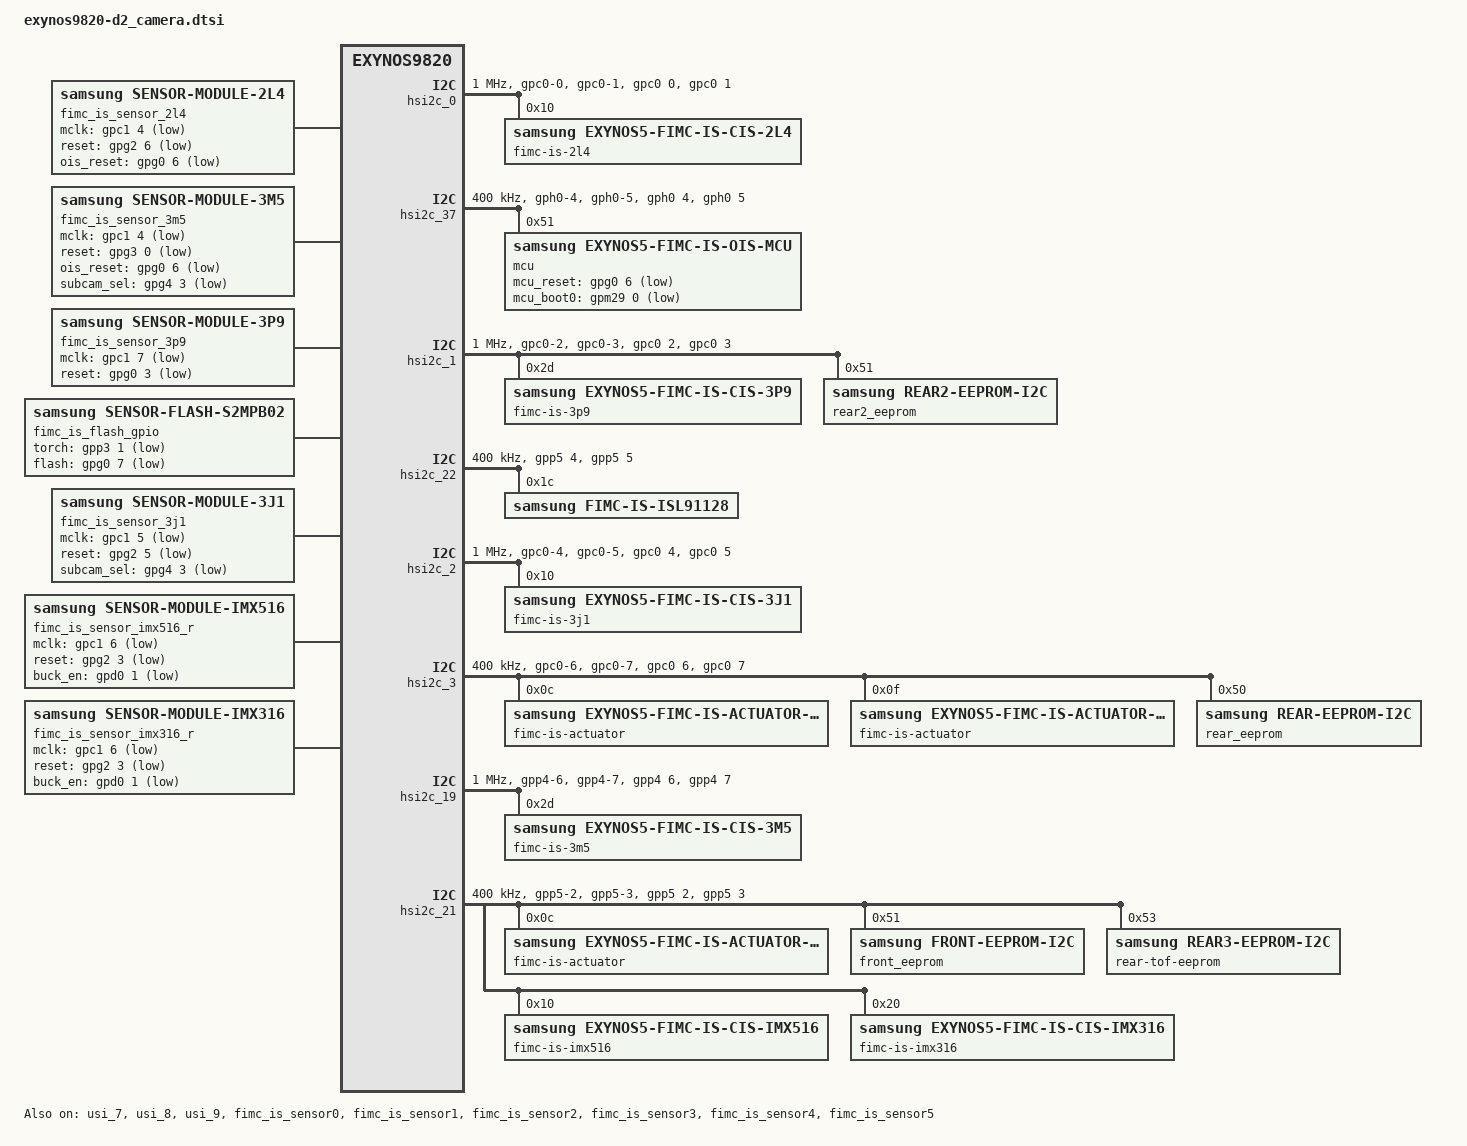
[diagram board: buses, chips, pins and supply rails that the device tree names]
/*
 * SAMSUNG EXYNOS9820 board camera device tree source
 *
 * Copyright (c) 2018 Samsung Electronics Co., Ltd.
 *		http://www.samsung.com
 *
 * This program is free software; you can redistribute it and/or modify
 * it under the terms of the GNU General Public License version 2 as
 * published by the Free Software Foundation.
*/

#include <dt-bindings/camera/fimc_is.h>

/ {
	fragment@camera {
		target-path = "/";
		__overlay__ {
			/* REAR CAMERA */
			fimc_is_sensor_2l4: fimc-is_sensor_2l4@20 {
				compatible = "samsung,sensor-module-2l4";

				pinctrl-names = "pin0", "pin1", "pin2", "release";
				pinctrl-0 = <>;
				pinctrl-1 = <&sensor_mclk0_out>;
				pinctrl-2 = <&sensor_mclk0_fn>;
				pinctrl-3 = <>;

				position = <0>;	/* Rear:0. Front:1. Rear_sub:2. Secure:3. */
				id = <0>; /* fimc_is_sensor id */
				mclk_ch = <0>;
				use_mclk_share;
				sensor_i2c_ch = <0>; /* SENSOR_CONTROL_I2C0 */

				rom_type = <2>; /* ROM_TYPE_EEPROM */
				rom_id = <0>;
				rom_cal_index = <0>;

				gpio_mclk = <&gpc1 4 0x1>;
				gpio_reset = <&gpg2 6 0x1>; /* sensor reset */
				gpio_ois_reset = <&gpg0 6 0x1>; /* ois reset */

				status = "okay";

				af {
					product_name = <18>; /* ACTUATOR_NAME_AK737X : ak7371 or ak7374 */
					i2c_ch = <1>; /* SENSOR_CONTROL_I2C1 */
				};

				flash {
					product_name = <11>; /* FLASH_GPIO */
				};

				ois {
					product_name = <100>; /* NOTHING */
				};

				mcu {
					product_name = <1>; /* STM32 */
					i2c_addr = <0x51>;
					i2c_ch = <1>; /* SENSOR_CONTROL_I2C1 */
				};

				aperture {
					product_name = <100>; /* NOTHING */
				};
			};

			/* REAR2 CAMERA */
			fimc_is_sensor_3m5: fimc-is_sensor_3m5@5A {
				compatible = "samsung,sensor-module-3m5";

				pinctrl-names = "pin0", "pin1", "pin2", "release";
				pinctrl-0 = <>;
				pinctrl-1 = <&sensor_mclk0_out>;
				pinctrl-2 = <&sensor_mclk0_fn>;
				pinctrl-3 = <>;

				position = <2>; /* Rear:0. Front:1, Tele:2 */
				id = <2>; /* fimc_is_sensor id */
				mclk_ch = <0>;
				use_mclk_share;
				sensor_i2c_ch = <2>; /* SENSOR_CONTROL_I2C2 */

				rom_type = <2>; /* ROM_TYPE_EEPROM */
				rom_id = <0>;
				rom_cal_index = <1>;
				rom_dualcal_id = <0>;
				rom_dualcal_index = <1>;

				gpio_mclk = <&gpc1 4 0x1>; /* mclk shared with wide-cam */
				gpio_reset = <&gpg3 0 0x1>; /* sensor reset */
				gpio_ois_reset = <&gpg0 6 0x1>; /* ois reset */
				gpio_subcam_sel = <&gpg4 3 0x1>; /* sub cam sel */

				status = "okay";

				af {
					product_name = <18>; /* ACTUATOR_NAME_AK737X : ak7371 or ak7374 */
					i2c_ch = <3>; /* SENSOR_CONTROL_I2C3 */
				};

				flash {
					product_name = <11>; /* FLASH_GPIO */
				};

				preprocessor {
					product_name = <100>; /* NOTHING */
				};

				ois {
					product_name = <100>; /* NOTHING */
				};

				mcu {
					product_name = <1>; /* STM32 */
					i2c_addr = <0x51>;
					i2c_ch = <3>; /* SENSOR_CONTROL_I2C3 */
				};
			};

			/* Ultra Wide CAMERA */
			fimc_is_sensor_3p9: fimc-is_sensor_3p9@2D {
				compatible = "samsung,sensor-module-3p9";

				pinctrl-names = "pin0", "pin1", "pin2", "release";
				pinctrl-0 = <>;
				pinctrl-1 = <&sensor_mclk3_out>;
				pinctrl-2 = <&sensor_mclk3_fn>;
				pinctrl-3 = <>;

				position = <4>; /* Rear:0. Front:1, Tele:2 */
				id = <4>; /* fimc_is_sensor id */
				mclk_ch = <3>;
				sensor_i2c_ch = <4>; /* SENSOR_CONTROL_I2C4 */

				rom_type = <2>; /* ROM_TYPE_EEPROM */
				rom_id = <2>;
				rom_cal_index = <0>;
				rom_dualcal_id = <0>;
				rom_dualcal_index = <0>;

				gpio_mclk = <&gpc1 7 0x1>; /* mclk3 */
				gpio_reset = <&gpg0 3 0x1>; /* sensor reset */
				status = "okay";

				af {
					product_name = <100>; /* NOTHING */
				};

				flash {
					product_name = <11>; /* FLASH_GPIO */
				};

				preprocessor {
					product_name = <100>; /* NOTHING */
				};

				ois {
					product_name = <100>; /* NOTHING */
				};
			};

			fimc_is_flash_gpio: fimc-is-flash-gpio@0 {
				compatible = "samsung,sensor-flash-s2mpb02";
				id = <0 2 4>;
				status = "okay";

				torch-gpio = <&gpp3 1 0x1>;
				flash-gpio = <&gpg0 7 0x1>;
			};

			/* FRONT CAMERA */
			fimc_is_sensor_3j1: fimc-is_sensor_3j1@10 {
				compatible = "samsung,sensor-module-3j1";

				pinctrl-names = "pin0", "pin1", "pin2", "release";
				pinctrl-0 = <>;
				pinctrl-1 = <&sensor_mclk1_out>;
				pinctrl-2 = <&sensor_mclk1_fn>;
				pinctrl-3 = <>;

				position = <1>;	/* Rear:0. Front:1. Rear_sub:2. Secure:3. */
				id = <1>; /* fimc_is_sensor id */
				mclk_ch = <1>;
				sensor_i2c_ch = <4>; /* SENSOR_CONTROL_I2C4 */

				rom_type = <2>; /* ROM_TYPE_EEPROM */
				rom_id = <1>;
				rom_cal_index = <0>;

				gpio_mclk = <&gpc1 5 0x1>;
				gpio_reset = <&gpg2 5 0x1>; /* sensor reset */
				gpio_subcam_sel = <&gpg4 3 0x1>; /* sub cam sel */
				power_seq_id = <1>;
				status = "okay";

				af {
					product_name = <18>; /* ACTUATOR_NAME_AK737X */
					i2c_ch = <5>; /* SENSOR_CONTROL_I2C5 */
				};

				flash {
					product_name = <100>; /* NOTHING */
				};

				ois {
					product_name = <100>; /* NOTHING */
				};
			};

			/* Rear TOF */
			fimc_is_sensor_imx516_r: fimc-is_sensor_imx516_r@20 {
				compatible = "samsung,sensor-module-imx516";

				pinctrl-names = "pin0", "pin1", "pin2", "release";
				pinctrl-0 = <>;
				pinctrl-1 = <&sensor_mclk2_out>;
				pinctrl-2 = <&sensor_mclk2_fn>;
				pinctrl-3 = <>;

				position = <8>; /* Rear:0. Front:1, Tele:2 Front_sub:3 super Wide:4 rear TOF:8 front TOF:9*/
				id = <3>; /* fimc_is_sensor id */
				mclk_ch = <2>;
				sensor_i2c_ch = <6>; /* SENSOR_CONTROL_I2C6 */

				rom_type = <2>; /* ROM_TYPE_EEPROM */
				rom_id = <4>;
				rom_cal_index = <0>;
				rom_dualcal_id = <0>;
				rom_dualcal_index = <2>;

				gpio_mclk = <&gpc1 6 0x1>; /* mclk2 */
				gpio_reset = <&gpg2 3 0x1>; /* sensor reset */
				gpio_buck_en = <&gpd0 1 0x1>; /* isl91128 enable */
				status = "okay";

				af {
					product_name = <100>;  /* NOTHING */
				};

				flash {
					product_name = <100>;  /* NOTHING */
				};

				preprocessor {
					product_name = <100>; /* NOTHING */
				};

				ois {
					product_name = <100>; /* NOTHING */
				};
			};

			/* Rear TOF */
			fimc_is_sensor_imx316_r: fimc-is_sensor_imx316_r@20 {
				compatible = "samsung,sensor-module-imx316";

				pinctrl-names = "pin0", "pin1", "pin2", "release";
				pinctrl-0 = <>;
				pinctrl-1 = <&sensor_mclk2_out>;
				pinctrl-2 = <&sensor_mclk2_fn>;
				pinctrl-3 = <>;

				position = <8>; /* Rear:0. Front:1, Tele:2 Front_sub:3 super Wide:4 rear TOF:8 front TOF:9*/
				id = <3>; /* fimc_is_sensor id */
				mclk_ch = <2>;
				sensor_i2c_ch = <6>; /* SENSOR_CONTROL_I2C6 */

				rom_type = <2>; /* ROM_TYPE_EEPROM */
				rom_id = <4>;
				rom_cal_index = <0>;
				rom_dualcal_id = <0>;
				rom_dualcal_index = <2>;

				gpio_mclk = <&gpc1 6 0x1>; /* mclk2 */
				gpio_reset = <&gpg2 3 0x1>; /* sensor reset */
				gpio_buck_en = <&gpd0 1 0x1>; /* isl91128 enable */
				status = "okay";

				af {
					product_name = <100>;  /* NOTHING */
				};

				flash {
					product_name = <100>;  /* NOTHING */
				};

				preprocessor {
					product_name = <100>; /* NOTHING */
				};

				ois {
					product_name = <100>; /* NOTHING */
				};
			};
		}; /* end of __overlay__ */
	}; /* end of fragment */
}; /* end of root */

/***** reference symbol node *****/

&fimc_is {
	secure_mem_info = <0x96000000 0x2200000>;
	non_secure_mem_info = <0x98200000 0xE00000>;
	vender {
		rear_sensor_id = <37>; /* 2L4 */
		front_sensor_id = <38>; /* 3J1 */
		rear2_sensor_id = <50>; /* 3M5 */
		rear3_sensor_id = <40>; /* 3P9 */
		rear_tof_sensor_id = <119>; /* IMX516 */
		use_module_check;
		use_ois;
		check_sensor_vendor;
		ois_sensor_index = <0>;
		aperture_sensor_index = <0>;
		mcu_sensor_index = <0>;

		max_supported_camera = <8>;
		supported_cameraId = <0 1 20 21 23 50 52 80>;
		/*
		 * REAR(0)
		 * FRONT(1)
		 * DUAL_REAR_ZOOM(20)
		 * TELE(21)
		 * WIDE(23)
		 * REAR_2ND(50)
		 * REAR_3RD(52)
		 * REAR_TOF(80)
		 */

		/* sysfs camera id */
		max_camera_num = <9>;
		camera_info0 {			// 0 : sysfs rear
			internal_id = <0>;	// 0 : wide
			isp = <0>;			/* 0 : INT , 1 : EXT , 2 : SOC */
			cal_memory = <2>;	/* 0 : N , 1 : FROM , 2 : EEPROM , 3 : OTP  */
			read_version = <0>;	/* 0 : SYSFS , 1 : CAMON */
			core_voltage = <0>;	/* 0 : N , 1 : Y  */
			upgrade = <0>;		/* 0 : N , 1 : SYSFS , 2 : CAMON */
			fw_write = <0>;		/* 0 : N,  1 : OS, 2 : SD, 3 : ALL */
			fw_dump = <0>;		/* 0 : N , 1 : Y  */
			companion = <0>;	/* 0 : N , 1 : Y  */
			ois = <1>;			/* 0 : N , 1 : Y  */
			valid = <1>;		/* 0 : INVALID , 1 : VALID   */
		};
		camera_info1 {			// 1 : sysfs front
			internal_id = <1>;	// 1 : front master
			isp = <0>;			/* 0 : INT , 1 : EXT , 2 : SOC */
			cal_memory = <2>;	/* 0 : N , 1 : FROM , 2 : EEPROM , 3 : OTP  */
			read_version = <0>;	/* 0 : SYSFS , 1 : CAMON */
			core_voltage = <0>;	/* 0 : N , 1 : Y  */
			upgrade = <0>;		/* 0 : N , 1 : SYSFS , 2 : CAMON */
			fw_write = <0>;		/* 0 : N,  1 : OS, 2 : SD, 3 : ALL */
			fw_dump = <0>;		/* 0 : N , 1 : Y  */
			companion = <0>;	/* 0 : N , 1 : Y  */
			ois = <0>;			/* 0 : N , 1 : Y  */
			valid = <1>;		/* 0 : INVALID , 1 : VALID   */
		};
		camera_info2 {			// 2 : sysfs rear2
			internal_id = <4>;	// 4 : ultra wide
			isp = <0>;			/* 0 : INT , 1 : EXT , 2 : SOC */
			cal_memory = <2>;	/* 0 : N , 1 : FROM , 2 : EEPROM , 3 : OTP  */
			read_version = <0>;	/* 0 : SYSFS , 1 : CAMON */
			core_voltage = <0>;	/* 0 : N , 1 : Y  */
			upgrade = <0>;		/* 0 : N , 1 : SYSFS , 2 : CAMON */
			fw_write = <0>;		/* 0 : N,  1 : OS, 2 : SD, 3 : ALL */
			fw_dump = <0>;		/* 0 : N , 1 : Y  */
			companion = <0>;	/* 0 : N , 1 : Y  */
			ois = <0>;			/* 0 : N , 1 : Y  */
			valid = <1>;		/* 0 : INVALID , 1 : VALID   */
		};
		camera_info3 {			// 3 : sysfs front2
			valid = <0>;		/* 0 : INVALID , 1 : VALID   */
		};
		camera_info4 {			// 4 : sysfs rear3
			internal_id = <2>;	// 4 : tele
			isp = <0>;			/* 0 : INT , 1 : EXT , 2 : SOC */
			cal_memory = <2>;	/* 0 : N , 1 : FROM , 2 : EEPROM , 3 : OTP  */
			read_version = <0>;	/* 0 : SYSFS , 1 : CAMON */
			core_voltage = <0>;	/* 0 : N , 1 : Y  */
			upgrade = <0>;		/* 0 : N , 1 : SYSFS , 2 : CAMON */
			fw_write = <0>;		/* 0 : N,  1 : OS, 2 : SD, 3 : ALL */
			fw_dump = <0>;		/* 0 : N , 1 : Y  */
			companion = <0>;	/* 0 : N , 1 : Y  */
			ois = <1>;			/* 0 : N , 1 : Y  */
			valid = <1>;		/* 0 : INVALID , 1 : VALID   */
		};
		camera_info5 {			// 5 : sysfs front3
			valid = <0>;		/* 0 : INVALID , 1 : VALID   */
		};
		camera_info6 {			// 6 : sysfs rear4
			valid = <0>;		/* 0 : INVALID , 1 : VALID   */
		};
		camera_info7 {			// 7 : sysfs front4
			valid = <0>;		/* 0 : INVALID , 1 : VALID   */
		};
		camera_info8 {			// 8 : sysfs rear tof
			internal_id = <8>;	// 3 : rear tof
			isp = <0>;			/* 0 : INT , 1 : EXT , 2 : SOC */
			cal_memory = <2>;	/* 0 : N , 1 : FROM , 2 : EEPROM , 3 : OTP  */
			read_version = <0>;	/* 0 : SYSFS , 1 : CAMON */
			core_voltage = <0>;	/* 0 : N , 1 : Y  */
			upgrade = <0>;		/* 0 : N , 1 : SYSFS , 2 : CAMON */
			fw_write = <0>;		/* 0 : N,  1 : OS, 2 : SD, 3 : ALL */
			fw_dump = <0>;		/* 0 : N , 1 : Y  */
			companion = <0>;	/* 0 : N , 1 : Y  */
			ois = <0>;			/* 0 : N , 1 : Y  */
			valid = <1>;		/* 0 : INVALID , 1 : VALID   */
		};
	};

	fimc_is_dvfs {
		#define DVFS_INT_CAM_L0 690000
		#define DVFS_INT_CAM_L1 680000
		#define DVFS_INT_CAM_L2 670000
		#define DVFS_INT_CAM_L3 660000
		#define DVFS_INT_CAM_L4 650000
		#define DVFS_INT_CAM_L5 640000
		#define DVFS_INT_CAM_L6 630000

		#define DVFS_INT_L0 534000
		#define DVFS_INT_L1 400000
		#define DVFS_INT_L2 267000
		#define DVFS_INT_L3 200000
		#define DVFS_INT_L4 100000

		#define DVFS_CAM_L0 690000
		#define DVFS_CAM_L1 680000
		#define DVFS_CAM_L2 670000
		#define DVFS_CAM_L3 660000
		#define DVFS_CAM_L4 650000

		#define DVFS_MIF_L0 2094000 /* Currently be disabled */
		#define DVFS_MIF_L1 2093000
		#define DVFS_MIF_L2 1794000
		#define DVFS_MIF_L3 1539000
		#define DVFS_MIF_L4 1352000
		#define DVFS_MIF_L5 1014000
		#define DVFS_MIF_L6 845000
		#define DVFS_MIF_L7 676000
		#define DVFS_MIF_L8 546000
		#define DVFS_MIF_L9 421000

		table0 {
			desc = "dvfs table v0.3 for 12M/10M";

			default_int_cam = <DVFS_INT_CAM_L0>;
			default_cam = <DVFS_CAM_L0>;
			default_mif = <DVFS_MIF_L1>;
			default_int = <DVFS_INT_L4>;
			default_hpg = <1>;

			front2_preview_int_cam = <DVFS_INT_CAM_L5>;
			front2_preview_cam = <DVFS_CAM_L1>;
			front2_preview_mif = <DVFS_MIF_L4>;
			front2_preview_int = <DVFS_INT_L4>;
			front2_preview_hpg = <1>;

			front2_capture_int_cam = <DVFS_INT_CAM_L5>;
			front2_capture_cam = <DVFS_CAM_L1>;
			front2_capture_mif = <DVFS_MIF_L4>;
			front2_capture_int = <DVFS_INT_L4>;
			front2_capture_hpg = <1>;

			front2_video_int_cam = <DVFS_INT_CAM_L5>;
			front2_video_cam = <DVFS_CAM_L1>;
			front2_video_mif = <DVFS_MIF_L4>;
			front2_video_int = <DVFS_INT_L4>;
			front2_video_hpg = <1>;

			front2_video_capture_int_cam = <DVFS_INT_CAM_L5>;
			front2_video_capture_cam = <DVFS_CAM_L1>;
			front2_video_capture_mif = <DVFS_MIF_L4>;
			front2_video_capture_int = <DVFS_INT_L4>;
			front2_video_capture_hpg = <1>;

			front_preview_int_cam = <DVFS_INT_CAM_L5>;
			front_preview_cam = <DVFS_CAM_L1>;
			front_preview_mif = <DVFS_MIF_L4>;
			front_preview_int = <DVFS_INT_L4>;
			front_preview_hpg = <1>;

			front_preview_full_int_cam = <DVFS_INT_CAM_L5>;
			front_preview_full_cam = <DVFS_CAM_L1>;
			front_preview_full_mif = <DVFS_MIF_L4>;
			front_preview_full_int = <DVFS_INT_L4>;
			front_preview_full_hpg = <1>;

			front_capture_int_cam = <DVFS_INT_CAM_L5>;
			front_capture_cam = <DVFS_CAM_L1>;
			front_capture_mif = <DVFS_MIF_L4>;
			front_capture_int = <DVFS_INT_L4>;
			front_capture_hpg = <1>;

			front_video_int_cam = <DVFS_INT_CAM_L5>;
			front_video_cam = <DVFS_CAM_L1>;
			front_video_mif = <DVFS_MIF_L4>;
			front_video_int = <DVFS_INT_L4>;
			front_video_hpg = <1>;

			front_video_whd_int_cam = <DVFS_INT_CAM_L5>;
			front_video_whd_cam = <DVFS_CAM_L1>;
			front_video_whd_mif = <DVFS_MIF_L4>;
			front_video_whd_int = <DVFS_INT_L4>;
			front_video_whd_hpg = <1>;

			front_video_uhd_int_cam = <DVFS_INT_CAM_L5>;
			front_video_uhd_cam = <DVFS_CAM_L1>;
			front_video_uhd_mif = <DVFS_MIF_L4>;
			front_video_uhd_int = <DVFS_INT_L4>;
			front_video_uhd_hpg = <1>;

			front_video_capture_int_cam = <DVFS_INT_CAM_L5>;
			front_video_capture_cam = <DVFS_CAM_L1>;
			front_video_capture_mif = <DVFS_MIF_L4>;
			front_video_capture_int = <DVFS_INT_L4>;
			front_video_capture_hpg = <1>;

			front_video_whd_capture_int_cam = <DVFS_INT_CAM_L5>;
			front_video_whd_capture_cam = <DVFS_CAM_L1>;
			front_video_whd_capture_mif = <DVFS_MIF_L4>;
			front_video_whd_capture_int = <DVFS_INT_L4>;
			front_video_whd_capture_hpg = <1>;

			front_video_uhd_capture_int_cam = <DVFS_INT_CAM_L5>;
			front_video_uhd_capture_cam = <DVFS_CAM_L1>;
			front_video_uhd_capture_mif = <DVFS_MIF_L4>;
			front_video_uhd_capture_int = <DVFS_INT_L4>;
			front_video_uhd_capture_hpg = <1>;

			front_dual_sync_preview_int_cam = <DVFS_INT_CAM_L3>;
			front_dual_sync_preview_cam = <DVFS_CAM_L1>;
			front_dual_sync_preview_mif = <DVFS_MIF_L4>;
			front_dual_sync_preview_int = <DVFS_INT_L4>;
			front_dual_sync_preview_hpg = <1>;

			front_dual_sync_capture_int_cam = <DVFS_INT_CAM_L3>;
			front_dual_sync_capture_cam = <DVFS_CAM_L1>;
			front_dual_sync_capture_mif = <DVFS_MIF_L3>;
			front_dual_sync_capture_int = <DVFS_INT_L4>;
			front_dual_sync_capture_hpg = <1>;

			front_dual_sync_video_fhd_int_cam = <DVFS_INT_CAM_L3>;
			front_dual_sync_video_fhd_cam = <DVFS_CAM_L1>;
			front_dual_sync_video_fhd_mif = <DVFS_MIF_L4>;
			front_dual_sync_video_fhd_int = <DVFS_INT_L4>;
			front_dual_sync_video_fhd_hpg = <1>;

			front_dual_sync_video_fhd_capture_int_cam = <DVFS_INT_CAM_L3>;
			front_dual_sync_video_fhd_capture_cam = <DVFS_CAM_L1>;
			front_dual_sync_video_fhd_capture_mif = <DVFS_MIF_L3>;
			front_dual_sync_video_fhd_capture_int = <DVFS_INT_L4>;
			front_dual_sync_video_fhd_capture_hpg = <1>;

			front_vt1_int_cam = <DVFS_INT_CAM_L5>;
			front_vt1_cam = <DVFS_CAM_L1>;
			front_vt1_mif = <DVFS_MIF_L4>;
			front_vt1_int = <DVFS_INT_L4>;
			front_vt1_hpg = <1>;

			front_vt2_int_cam = <DVFS_INT_CAM_L5>;
			front_vt2_cam = <DVFS_CAM_L1>;
			front_vt2_mif = <DVFS_MIF_L4>;
			front_vt2_int = <DVFS_INT_L4>;
			front_vt2_hpg = <1>;

			front_vt4_int_cam = <DVFS_INT_CAM_L5>;
			front_vt4_cam = <DVFS_CAM_L1>;
			front_vt4_mif = <DVFS_MIF_L4>;
			front_vt4_int = <DVFS_INT_L4>;
			front_vt4_hpg = <1>;

			front_preview_high_speed_fps_int_cam = <DVFS_INT_CAM_L5>;
			front_preview_high_speed_fps_cam = <DVFS_CAM_L1>;
			front_preview_high_speed_fps_mif = <DVFS_MIF_L4>;
			front_preview_high_speed_fps_int = <DVFS_INT_L4>;
			front_preview_high_speed_fps_hpg = <1>;

			front_video_high_speed_120fps_int_cam = <DVFS_INT_CAM_L3>;
			front_video_high_speed_120fps_cam = <DVFS_CAM_L1>;
			front_video_high_speed_120fps_mif = <DVFS_MIF_L3>;
			front_video_high_speed_120fps_int = <DVFS_INT_L4>;
			front_video_high_speed_120fps_hpg = <1>;

			front_video_high_speed_240fps_int_cam = <DVFS_INT_CAM_L3>;
			front_video_high_speed_240fps_cam = <DVFS_CAM_L1>;
			front_video_high_speed_240fps_mif = <DVFS_MIF_L3>;
			front_video_high_speed_240fps_int = <DVFS_INT_L4>;
			front_video_high_speed_240fps_hpg = <1>;

			rear3_preview_fhd_int_cam = <DVFS_INT_CAM_L5>;
			rear3_preview_fhd_cam = <DVFS_CAM_L1>;
			rear3_preview_fhd_mif = <DVFS_MIF_L4>;
			rear3_preview_fhd_int = <DVFS_INT_L4>;
			rear3_preview_fhd_hpg = <1>;

			rear3_capture_int_cam = <DVFS_INT_CAM_L3>;
			rear3_capture_cam = <DVFS_CAM_L1>;
			rear3_capture_mif = <DVFS_MIF_L4>;
			rear3_capture_int = <DVFS_INT_L4>;
			rear3_capture_hpg = <1>;

			rear3_video_fhd_int_cam = <DVFS_INT_CAM_L4>;
			rear3_video_fhd_cam = <DVFS_CAM_L1>;
			rear3_video_fhd_mif = <DVFS_MIF_L4>;
			rear3_video_fhd_int = <DVFS_INT_L4>;
			rear3_video_fhd_hpg = <1>;

			rear3_video_fhd_capture_int_cam = <DVFS_INT_CAM_L3>;
			rear3_video_fhd_capture_cam = <DVFS_CAM_L1>;
			rear3_video_fhd_capture_mif = <DVFS_MIF_L4>;
			rear3_video_fhd_capture_int = <DVFS_INT_L4>;
			rear3_video_fhd_capture_hpg = <1>;

			rear2_preview_fhd_int_cam = <DVFS_INT_CAM_L5>;
			rear2_preview_fhd_cam = <DVFS_CAM_L1>;
			rear2_preview_fhd_mif = <DVFS_MIF_L4>;
			rear2_preview_fhd_int = <DVFS_INT_L4>;
			rear2_preview_fhd_hpg = <1>;

			rear2_capture_int_cam = <DVFS_INT_CAM_L3>;
			rear2_capture_cam = <DVFS_CAM_L1>;
			rear2_capture_mif = <DVFS_MIF_L4>;
			rear2_capture_int = <DVFS_INT_L4>;
			rear2_capture_hpg = <1>;

			rear2_video_fhd_int_cam = <DVFS_INT_CAM_L4>;
			rear2_video_fhd_cam = <DVFS_CAM_L1>;
			rear2_video_fhd_mif = <DVFS_MIF_L4>;
			rear2_video_fhd_int = <DVFS_INT_L4>;
			rear2_video_fhd_hpg = <1>;

			rear2_video_fhd_capture_int_cam = <DVFS_INT_CAM_L3>;
			rear2_video_fhd_capture_cam = <DVFS_CAM_L1>;
			rear2_video_fhd_capture_mif = <DVFS_MIF_L4>;
			rear2_video_fhd_capture_int = <DVFS_INT_L4>;
			rear2_video_fhd_capture_hpg = <1>;

			rear_preview_fhd_int_cam = <DVFS_INT_CAM_L5>;
			rear_preview_fhd_cam = <DVFS_CAM_L1>;
			rear_preview_fhd_mif = <DVFS_MIF_L4>;
			rear_preview_fhd_int = <DVFS_INT_L4>;
			rear_preview_fhd_hpg = <1>;

			rear_preview_whd_int_cam = <DVFS_INT_CAM_L5>;
			rear_preview_whd_cam = <DVFS_CAM_L1>;
			rear_preview_whd_mif = <DVFS_MIF_L4>;
			rear_preview_whd_int = <DVFS_INT_L4>;
			rear_preview_whd_hpg = <1>;

			rear_preview_uhd_int_cam = <DVFS_INT_CAM_L5>;
			rear_preview_uhd_cam = <DVFS_CAM_L1>;
			rear_preview_uhd_mif = <DVFS_MIF_L4>;
			rear_preview_uhd_int = <DVFS_INT_L4>;
			rear_preview_uhd_hpg = <1>;

			rear_preview_uhd_60fps_int_cam = <DVFS_INT_CAM_L3>;
			rear_preview_uhd_60fps_cam = <DVFS_CAM_L1>;
			rear_preview_uhd_60fps_mif = <DVFS_MIF_L3>;
			rear_preview_uhd_60fps_int = <DVFS_INT_L4>;
			rear_preview_uhd_60fps_hpg = <1>;

			rear_preview_full_int_cam = <DVFS_INT_CAM_L3>;
			rear_preview_full_cam = <DVFS_CAM_L1>;
			rear_preview_full_mif = <DVFS_MIF_L4>;
			rear_preview_full_int = <DVFS_INT_L4>;
			rear_preview_full_hpg = <1>;

			rear_capture_int_cam = <DVFS_INT_CAM_L3>;
			rear_capture_cam = <DVFS_CAM_L1>;
			rear_capture_mif = <DVFS_MIF_L4>;
			rear_capture_int = <DVFS_INT_L4>;
			rear_capture_hpg = <1>;

			rear_video_fhd_int_cam = <DVFS_INT_CAM_L4>;
			rear_video_fhd_cam = <DVFS_CAM_L1>;
			rear_video_fhd_mif = <DVFS_MIF_L4>;
			rear_video_fhd_int = <DVFS_INT_L4>;
			rear_video_fhd_hpg = <1>;

			rear_video_whd_int_cam = <DVFS_INT_CAM_L5>;
			rear_video_whd_cam = <DVFS_CAM_L1>;
			rear_video_whd_mif = <DVFS_MIF_L4>;
			rear_video_whd_int = <DVFS_INT_L4>;
			rear_video_whd_hpg = <1>;

			rear_video_uhd_int_cam = <DVFS_INT_CAM_L3>;
			rear_video_uhd_cam = <DVFS_CAM_L1>;
			rear_video_uhd_mif = <DVFS_MIF_L4>;
			rear_video_uhd_int = <DVFS_INT_L4>;
			rear_video_uhd_hpg = <1>;

			rear_video_uhd_60fps_int_cam = <DVFS_INT_CAM_L4>;
			rear_video_uhd_60fps_cam = <DVFS_CAM_L1>;
			rear_video_uhd_60fps_mif = <DVFS_MIF_L3>;
			rear_video_uhd_60fps_int = <DVFS_INT_L4>;
			rear_video_uhd_60fps_hpg = <1>;

			rear_video_fhd_capture_int_cam = <DVFS_INT_CAM_L3>;
			rear_video_fhd_capture_cam = <DVFS_CAM_L1>;
			rear_video_fhd_capture_mif = <DVFS_MIF_L4>;
			rear_video_fhd_capture_int = <DVFS_INT_L4>;
			rear_video_fhd_capture_hpg = <1>;

			rear_video_whd_capture_int_cam = <DVFS_INT_CAM_L3>;
			rear_video_whd_capture_cam = <DVFS_CAM_L1>;
			rear_video_whd_capture_mif = <DVFS_MIF_L4>;
			rear_video_whd_capture_int = <DVFS_INT_L4>;
			rear_video_whd_capture_hpg = <1>;

			rear_video_uhd_capture_int_cam = <DVFS_INT_CAM_L3>;
			rear_video_uhd_capture_cam = <DVFS_CAM_L1>;
			rear_video_uhd_capture_mif = <DVFS_MIF_L4>;
			rear_video_uhd_capture_int = <DVFS_INT_L4>;
			rear_video_uhd_capture_hpg = <1>;

			dual_preview_int_cam = <DVFS_INT_CAM_L5>;
			dual_preview_cam = <DVFS_CAM_L1>;
			dual_preview_mif = <DVFS_MIF_L4>;
			dual_preview_int = <DVFS_INT_L4>;
			dual_preview_hpg = <1>;

			dual_capture_int_cam = <DVFS_INT_CAM_L3>;
			dual_capture_cam = <DVFS_CAM_L1>;
			dual_capture_mif = <DVFS_MIF_L4>;
			dual_capture_int = <DVFS_INT_L4>;
			dual_capture_hpg = <1>;

			dual_video_fhd_int_cam = <DVFS_INT_CAM_L4>;
			dual_video_fhd_cam = <DVFS_CAM_L1>;
			dual_video_fhd_mif = <DVFS_MIF_L4>;
			dual_video_fhd_int = <DVFS_INT_L4>;
			dual_video_fhd_hpg = <1>;

			dual_video_fhd_capture_int_cam = <DVFS_INT_CAM_L3>;
			dual_video_fhd_capture_cam = <DVFS_CAM_L1>;
			dual_video_fhd_capture_mif = <DVFS_MIF_L4>;
			dual_video_fhd_capture_int = <DVFS_INT_L4>;
			dual_video_fhd_capture_hpg = <1>;

			dual_video_uhd_int_cam = <DVFS_INT_CAM_L3>;
			dual_video_uhd_cam = <DVFS_CAM_L1>;
			dual_video_uhd_mif = <DVFS_MIF_L4>;
			dual_video_uhd_int = <DVFS_INT_L4>;
			dual_video_uhd_hpg = <1>;

			dual_video_uhd_capture_int_cam = <DVFS_INT_CAM_L3>;
			dual_video_uhd_capture_cam = <DVFS_CAM_L1>;
			dual_video_uhd_capture_mif = <DVFS_MIF_L4>;
			dual_video_uhd_capture_int = <DVFS_INT_L4>;
			dual_video_uhd_capture_hpg = <1>;

			dual_sync_preview_int_cam = <DVFS_INT_CAM_L3>;
			dual_sync_preview_cam = <DVFS_CAM_L1>;
			dual_sync_preview_mif = <DVFS_MIF_L4>;
			dual_sync_preview_int = <DVFS_INT_L4>;
			dual_sync_preview_hpg = <1>;

			dual_sync_capture_int_cam = <DVFS_INT_CAM_L3>;
			dual_sync_capture_cam = <DVFS_CAM_L1>;
			dual_sync_capture_mif = <DVFS_MIF_L3>;
			dual_sync_capture_int = <DVFS_INT_L3>;
			dual_sync_capture_hpg = <1>;

			dual_sync_preview_whd_int_cam = <DVFS_INT_CAM_L3>;
			dual_sync_preview_whd_cam = <DVFS_CAM_L1>;
			dual_sync_preview_whd_mif = <DVFS_MIF_L3>;
			dual_sync_preview_whd_int = <DVFS_INT_L4>;
			dual_sync_preview_whd_hpg = <1>;

			dual_sync_whd_capture_int_cam = <DVFS_INT_CAM_L3>;
			dual_sync_whd_capture_cam = <DVFS_CAM_L1>;
			dual_sync_whd_capture_mif = <DVFS_MIF_L3>;
			dual_sync_whd_capture_int = <DVFS_INT_L4>;
			dual_sync_whd_capture_hpg = <1>;

			dual_sync_video_fhd_int_cam = <DVFS_INT_CAM_L3>;
			dual_sync_video_fhd_cam = <DVFS_CAM_L1>;
			dual_sync_video_fhd_mif = <DVFS_MIF_L4>;
			dual_sync_video_fhd_int = <DVFS_INT_L4>;
			dual_sync_video_fhd_hpg = <1>;

			dual_sync_video_fhd_capture_int_cam = <DVFS_INT_CAM_L3>;
			dual_sync_video_fhd_capture_cam = <DVFS_CAM_L1>;
			dual_sync_video_fhd_capture_mif = <DVFS_MIF_L3>;
			dual_sync_video_fhd_capture_int = <DVFS_INT_L4>;
			dual_sync_video_fhd_capture_hpg = <1>;

			dual_sync_video_uhd_int_cam = <DVFS_INT_CAM_L3>;
			dual_sync_video_uhd_cam = <DVFS_CAM_L1>;
			dual_sync_video_uhd_mif = <DVFS_MIF_L4>;
			dual_sync_video_uhd_int = <DVFS_INT_L4>;
			dual_sync_video_uhd_hpg = <1>;

			dual_sync_video_uhd_capture_int_cam = <DVFS_INT_CAM_L3>;
			dual_sync_video_uhd_capture_cam = <DVFS_CAM_L1>;
			dual_sync_video_uhd_capture_mif = <DVFS_MIF_L3>;
			dual_sync_video_uhd_capture_int = <DVFS_INT_L4>;
			dual_sync_video_uhd_capture_hpg = <1>;

			secure_front_int_cam = <DVFS_INT_CAM_L5>;
			secure_front_cam = <DVFS_CAM_L1>;
			secure_front_mif = <DVFS_MIF_L4>;
			secure_front_int = <DVFS_INT_L4>;
			secure_front_hpg = <1>;

			pip_preview_int_cam = <DVFS_INT_CAM_L3>;
			pip_preview_cam = <DVFS_CAM_L1>;
			pip_preview_mif = <DVFS_MIF_L4>;
			pip_preview_int = <DVFS_INT_L4>;
			pip_preview_hpg = <1>;

			pip_capture_int_cam = <DVFS_INT_CAM_L3>;
			pip_capture_cam = <DVFS_CAM_L1>;
			pip_capture_mif = <DVFS_MIF_L4>;
			pip_capture_int = <DVFS_INT_L4>;
			pip_capture_hpg = <1>;

			pip_video_int_cam = <DVFS_INT_CAM_L3>;
			pip_video_cam = <DVFS_CAM_L1>;
			pip_video_mif = <DVFS_MIF_L4>;
			pip_video_int = <DVFS_INT_L4>;
			pip_video_hpg = <1>;

			pip_video_capture_int_cam = <DVFS_INT_CAM_L3>;
			pip_video_capture_cam = <DVFS_CAM_L1>;
			pip_video_capture_mif = <DVFS_MIF_L4>;
			pip_video_capture_int = <DVFS_INT_L4>;
			pip_video_capture_hpg = <1>;

			preview_high_speed_fps_int_cam = <DVFS_INT_CAM_L5>;
			preview_high_speed_fps_cam = <DVFS_CAM_L1>;
			preview_high_speed_fps_mif = <DVFS_MIF_L4>;
			preview_high_speed_fps_int = <DVFS_INT_L4>;
			preview_high_speed_fps_hpg = <1>;

			video_high_speed_60fps_int_cam = <DVFS_INT_CAM_L3>;
			video_high_speed_60fps_cam = <DVFS_CAM_L1>;
			video_high_speed_60fps_mif = <DVFS_MIF_L4>;
			video_high_speed_60fps_int = <DVFS_INT_L4>;
			video_high_speed_60fps_hpg = <1>;

			video_high_speed_120fps_int_cam = <DVFS_INT_CAM_L3>;
			video_high_speed_120fps_cam = <DVFS_CAM_L1>;
			video_high_speed_120fps_mif = <DVFS_MIF_L4>;
			video_high_speed_120fps_int = <DVFS_INT_L4>;
			video_high_speed_120fps_hpg = <1>;

			video_high_speed_240fps_int_cam = <DVFS_INT_CAM_L3>;
			video_high_speed_240fps_cam = <DVFS_CAM_L1>;
			video_high_speed_240fps_mif = <DVFS_MIF_L3>;
			video_high_speed_240fps_int = <DVFS_INT_L4>;
			video_high_speed_240fps_hpg = <1>;

			video_high_speed_dualfps_int_cam = <DVFS_INT_CAM_L3>;
			video_high_speed_dualfps_cam = <DVFS_CAM_L1>;
			video_high_speed_dualfps_mif = <DVFS_MIF_L3>;
			video_high_speed_dualfps_int = <DVFS_INT_L4>;
			video_high_speed_dualfps_hpg = <6>;

			video_high_speed_60fps_capture_int_cam = <DVFS_INT_CAM_L3>;
			video_high_speed_60fps_capture_cam = <DVFS_CAM_L1>;
			video_high_speed_60fps_capture_mif = <DVFS_MIF_L3>;
			video_high_speed_60fps_capture_int = <DVFS_INT_L4>;
			video_high_speed_60fps_capture_hpg = <1>;

			ext_rear_int_cam = <DVFS_INT_CAM_L5>;
			ext_rear_cam = <DVFS_CAM_L1>;
			ext_rear_mif = <DVFS_MIF_L4>;
			ext_rear_int = <DVFS_INT_L4>;
			ext_rear_hpg = <1>;

			ext_front_int_cam = <DVFS_INT_CAM_L5>;
			ext_front_cam = <DVFS_CAM_L1>;
			ext_front_mif = <DVFS_MIF_L4>;
			ext_front_int = <DVFS_INT_L4>;
			ext_front_hpg = <1>;

			ext_secure_int_cam = <DVFS_INT_CAM_L5>;
			ext_secure_cam = <DVFS_CAM_L3>;
			ext_secure_mif = <DVFS_MIF_L4>;
			ext_secure_int = <DVFS_INT_L4>;
			ext_secure_hpg = <1>;

			max_int_cam = <DVFS_INT_CAM_L0>;
			max_cam = <DVFS_CAM_L0>;
			max_mif = <DVFS_MIF_L1>;
			max_int = <DVFS_INT_L0>;
			max_hpg = <1>;
		};
	};
};

&pinctrl_6 {
	/* PERIC1 CAM0 */
	hsi2c0_bus_in: hsi2c0-bus-in {
		samsung,pins = "gpc0-0", "gpc0-1";
		samsung,pin-function = <0>;
		samsung,pin-pud = <0>;
		samsung,pin-drv = <0>;
	};

	/* PERIC1 CAM1 */
	hsi2c1_bus_in: hsi2c1-bus-in {
		samsung,pins = "gpc0-2", "gpc0-3";
		samsung,pin-function = <0>;
		samsung,pin-pud = <0>;
		samsung,pin-drv = <0>;
	};

	/* PERIC1 CAM2 */
	hsi2c2_bus_in: hsi2c2-bus-in {
		samsung,pins = "gpc0-4", "gpc0-5";
		samsung,pin-function = <0>;
		samsung,pin-pud = <0>;
		samsung,pin-drv = <0>;
	};

	/* PERIC1 CAM3 */
	hsi2c3_bus_in: hsi2c3-bus-in {
		samsung,pins = "gpc0-6", "gpc0-7";
		samsung,pin-function = <0>;
		samsung,pin-pud = <0>;
		samsung,pin-drv = <0>;
	};

	/* PERIC1 USI07_I2C */
	hsi2c19_bus_in: hsi2c19-bus-in {
		samsung,pins = "gpp4-6", "gpp4-7";
		samsung,pin-function = <0>;
		samsung,pin-pud = <0>;
		samsung,pin-drv = <0>;
	};

	/* PERIC1 USI08_I2C */
	hsi2c21_bus_in: hsi2c21-bus-in {
		samsung,pins = "gpp5-2", "gpp5-3";
		samsung,pin-function = <0>;
		samsung,pin-pud = <0>;
		samsung,pin-drv = <0>;
	};

	/* PERIC1 USI09 */
	hsi2c22_bus_in: hsi2c22-bus-in {
		samsung,pins = "gpp5-4", "gpp5-5";
		samsung,pin-function = <0>;
		samsung,pin-pud = <0>;
		samsung,pin-drv = <0>;
	};

	hsi2c37_bus_in: hsi2c37-bus-in {
		samsung,pins = "gph0-4", "gph0-5";
		samsung,pin-function = <0>;
		samsung,pin-pud = <0>;
		samsung,pin-drv = <0>;
	};
};

&pinctrl_2 {
	gpm29: gpm29 {
		samsung,pins = "gpm29-0";
		samsung,pin-function = <1>;
		samsung,pin-pud = <0>;
		samsung,pin-drv = <0>;
	};
};

&pinctrl_5{
	gpg0: gpg0 {
		samsung,pins = "gpg0-6";
		samsung,pin-function = <1>;
		samsung,pin-pud = <0>;
		samsung,pin-drv = <0>;
	};
};

&usi_7 {
	usi_v2_mode = "i2c";
	status = "okay";
};

&usi_8 {
	usi_v2_mode = "i2c";
	status = "okay";
};

&usi_9 {
	usi_v2_mode = "i2c";
	status = "okay";
};

/* PERIC1 CAM0 */
&hsi2c_0 {
	#address-cells = <1>;
	#size-cells = <0>;
	gpios = <&gpc0 0 0 &gpc0 1 0>;
	status = "okay";
	clock-frequency = <1000000>;
	samsung,reset-before-trans;
	samsung,fast-plus-mode;

	pinctrl-names = "default","on_i2c","off_i2c";
	pinctrl-0 = <&hsi2c0_bus_in>;
	pinctrl-1 = <&hsi2c0_bus>;
	pinctrl-2 = <&hsi2c0_bus_in>;

	fimc-is-2l4@10 {
		compatible = "samsung,exynos5-fimc-is-cis-2l4";
		reg = <0x10>; /* 1 bit right shift */
		id = <0>; /* matching fimc_is_sensor id */
		setfile = "setB"; /* rotated 180 degrees */
		rev_reg = <0x0002 2 0xA002 0xA102>;
	};
};

&hsi2c_37 {
	#address-cells = <1>;
	#size-cells = <0>;
	gpios = <&gph0 4 0 &gph0 5 0>;
	status = "okay";
	clock-frequency = <400000>;
	samsung,reset-before-trans;

	pinctrl-names = "default","on_i2c","off_i2c";
	pinctrl-0 = <&hsi2c37_bus_in>;
	pinctrl-1 = <&hsi2c37_bus>;
	pinctrl-2 = <&hsi2c37_bus_in>;

	mcu@51 {
		compatible = "samsung,exynos5-fimc-is-ois-mcu";
		reg = <0x51>;
		id = <0 2>;
		gpio_mcu_reset = <&gpg0 6 0x1>; /* ois reset */
		gpio_mcu_boot0 = <&gpm29 0 0x1>; /* mcu boot0 */
		 /* wx_pole, wy_pole, gyro_orientation, tx_pole, ty_pole */
		ois_gyro_list = <0x01 0x01 0x10 0x00 0x00>;
		aperture_control_delay = <25 25>;
	};
};

/* PERIC1 CAM1 */
&hsi2c_1 {
	#address-cells = <1>;
	#size-cells = <0>;
	gpios = <&gpc0 2 0 &gpc0 3 0>;
	status = "okay";
	clock-frequency = <1000000>;
	samsung,reset-before-trans;
	samsung,fast-plus-mode;

	pinctrl-names = "default","on_i2c","off_i2c";
	pinctrl-0 = <&hsi2c1_bus_in>;
	pinctrl-1 = <&hsi2c1_bus>;
	pinctrl-2 = <&hsi2c1_bus_in>;

	fimc-is-3p9@2D {
		compatible = "samsung,exynos5-fimc-is-cis-3p9";
		reg = <0x2D>; /* 1 bit right shift */
		id = <4>; /* matching fimc_is_sensor id */
		setfile = "setA";
		status = "okay";
		rev_reg = <0x0002 2 0xA101>;
	};

	rear2_eeprom@51 { /* Ultra wide eeprom */
		compatible = "samsung,rear2-eeprom-i2c";
		reg = <0x51>;

		rom_power_position = <4>;
		rom_size = <0x4000>;
		cal_map_es_version = <12>;
		camera_module_es_version = "A";
		/*skip_cal_loading;*/

		/* Davinci_Rear_Cal_Map_V012_20190214_for_ALL */
		/* 0 header */
		header_crc_check_list = <0x0000 0x00FB 0x00FC>;
		/* 0 master LSC */
		/* 1 master all */
		crc_check_list = <0x0100 0x1AFB 0x1AFC
							0x2200 0x22DF 0x22FC>;

		/* Master */
		rom_header_version_start_addr = <0x40>;
		rom_header_cal_data_start_addr = <0x100>;

		rom_header_cal_map_ver_start_addr = <0x50>;
		rom_header_isp_setfile_ver_start_addr = <0x54>;
		rom_header_project_name_start_addr = <0x5E>;

		rom_header_module_id_addr = <0xAE>; /* 0xA8 + reserved bytes */
		rom_header_sensor_id_addr = <0xB8>;

		rom_header_mtf_data_addr = <0x66>;

		rom_awb_master_addr = <0x2200>;
		rom_awb_module_addr = <0x2224>;
	};
};

/* USI09_USI_I2C */
&hsi2c_22 {
	#address-cells = <1>;
	#size-cells = <0>;
	gpios = <&gpp5 4 0 &gpp5 5 0>;
	status = "okay";
	clock-frequency = <400000>;
	samsung,reset-before-trans;

	pinctrl-names = "default","on_i2c","off_i2c";
	pinctrl-0 = <&hsi2c22_bus>;
	pinctrl-1 = <&hsi2c22_bus>;
	pinctrl-2 = <&hsi2c22_bus_in>;

	fimc-is-isl91128@1C { /* RTOF POWER */
		compatible = "samsung,fimc-is-isl91128";
		reg = <0x1C>; /* 1 bit right shift */
		voltage_option = <1>; /* 1 : ouput level is 3.35V */
	};
};

/* PERIC1 CAM2 */
&hsi2c_2 {
	#address-cells = <1>;
	#size-cells = <0>;
	gpios = <&gpc0 4 0 &gpc0 5 0>;
	status = "okay";
	clock-frequency = <1000000>;
	samsung,reset-before-trans;
	samsung,fast-plus-mode;

	pinctrl-names = "default","on_i2c","off_i2c";
	pinctrl-0 = <&hsi2c2_bus_in>;
	pinctrl-1 = <&hsi2c2_bus>;
	pinctrl-2 = <&hsi2c2_bus_in>;

	fimc-is-3j1@10 {
		compatible = "samsung,exynos5-fimc-is-cis-3j1";
		reg = <0x10>; /* 1 bit right shift */
		id = <1>; /* matching fimc_is_sensor id */
		setfile = "default";
		sensor_f_number = <220>;
		rev_reg = <0x0002 2 0xA101 0xA202>;
	};
};

/* PERI1 CAM3 */
&hsi2c_3 {
	#address-cells = <1>;
	#size-cells = <0>;
	gpios = <&gpc0 6 0 &gpc0 7 0>;
	status = "okay";
	clock-frequency = <400000>;
	samsung,reset-before-trans;

	pinctrl-names = "default","on_i2c","off_i2c";
	pinctrl-0 = <&hsi2c3_bus_in>;
	pinctrl-1 = <&hsi2c3_bus>;
	pinctrl-2 = <&hsi2c3_bus_in>;

	fimc-is-actuator@0C {
		compatible = "samsung,exynos5-fimc-is-actuator-ak737x";
		reg = <0x0C>;
		id = <0>; /* matching fimc_is_sensor id */
		/* AK7377: addr 0xF3, data 0x13 */
		vendor_product_id = <0xF3 0x13>;
		vendor_first_pos = <120>;
		vendor_first_delay = <2000>;
		vendor_use_sleep_mode;
		vendor_use_standby_mode; /* AK7377 with vendor_use_sleep_mode */
	};

	fimc-is-actuator@0F {
		compatible = "samsung,exynos5-fimc-is-actuator-ak737x";
		reg = <0x0F>;
		id = <2>; /* matching sensor id */
		/* AK7377: addr 0xF3, data 0x13 */
		vendor_product_id = <0xF3 0x13>;
		vendor_first_pos = <120>;
		vendor_first_delay = <2000>;
		vendor_soft_landing_list = <100 20 0 40>; /* 1st_pos delay 2nd_pos delay */
		vendor_use_sleep_mode;
		vendor_use_standby_mode; /* AK7377 with vendor_use_sleep_mode */
	};

	rear_eeprom@50 {
		compatible = "samsung,rear-eeprom-i2c";
		reg = <0x50>;

		rom_power_position = <0>;
		rom_size = <0x10000>;
		cal_map_es_version = <12>;
		camera_module_es_version = "A";
		/*skip_cal_loading;*/

		/* Davinci_Rear_Cal_Map_V012_20190214_for_ALL */
		/* 0 header */
		header_crc_check_list = <0x0000 0x01FB 0x01FC>;
		/* 0 master LSC F1.5 */
		/* 1 master LSC F1.8 */
		/* 2 master LSC F2.4 */
		/* 3 master all */
		crc_check_list = <0x0200 0x1BFB 0x1BFC
							0x1C00 0x35FB 0x35FC
							0x3600 0x4FFB 0x4FFC
							0x6500 0xAFDF 0xAFFC>;

		/* 0 u-wide dual cal data */
		/* 1 tele LSC */
		/* 2 tele dual cal data */
		/* wide-TOF-dual cal data */
		dual_crc_check_list = <0xB000 0xB8FB 0xB8FC
								0xB900 0xD2FB 0xD2FC
								0xDA00 0xF1DF 0xF1FC
								0xF200 0xFAFB 0xFAFC>;

		/* Master */
		rom_header_version_start_addr = <0x50>;
		rom_header_cal_data_start_addr = <0x200>;

		rom_header_cal_map_ver_start_addr = <0x70>;
		rom_header_isp_setfile_ver_start_addr = <0x74>;
		rom_header_project_name_start_addr = <0x7E>;

		rom_header_module_id_addr = <0xAE>; /* 0xA8 + reserved bytes */
		rom_header_sensor_id_addr = <0xB8>;

		rom_header_mtf_data_addr = <0xE0>;
		rom_header_f2_mtf_data_addr = <0x116>;
		rom_header_f3_mtf_data_addr = <0x14C>;

		rom_awb_master_addr = <0xAD60>;
		rom_awb_module_addr = <0xAD84>;

		rom_af_cal_macro_addr = <0xAD40>;
		rom_af_cal_d50_addr = <0xAD38>;
		rom_af_cal_pan_addr = <0xAD34>;

		/* Slave 0 */
		rom_header_sensor2_version_start_addr = <0x40>;
		rom_header_sensor2_id_addr = <0xC8>;
		rom_header_sensor2_mtf_data_addr = <0x182>;

		rom_sensor2_awb_master_addr = <0xE860>;
		rom_sensor2_awb_module_addr = <0xE884>;

		rom_sensor2_af_cal_d50_addr = <0xE838>;
		rom_sensor2_af_cal_pan_addr = <0xE834>;

		/* Dual cal slave 0 - Ultra wide */
		rom_dualcal_slave0_start_addr = <0xB000>;
		rom_dualcal_slave0_size = <0x800>; /* 2048 */
		/* x y z sx sy */
		/* range max_err avg_err dll_version*/
		rom_dualcal_slave0_tilt_list = <0xB060 0xB064 0xB068 0xB0C0 0xB0C4
										0xB7E0 0xB7E4 0xB7E8 0xB000 0xB742>;

		/* Dual cal slave 1 - Tele */
		rom_dualcal_slave1_start_addr = <0xE910>;
		rom_dualcal_slave1_size = <0x800>; /* 2048 */
		/* x y z sx sy */
		/* range max_err avg_err dll_version*/
		rom_dualcal_slave1_tilt_list = <0xE970 0xE974 0xE978 0xE9D0 0xE9D4
										0xF0F0 0xF0F4 0xF0F8 0xE910 0xF052>;

		/* sensor ois - xgg ygg xcoef ycoef xsupper ysupper calmark */
		/* sensor2 ois - xgg ygg xcoef ycoef xsupper ysupper calmark */
		rom_ois_list = <0xAEC0 0xAEC4 0xF025 0xF027 0xAEE8 0xAEEA 0xAEE0
						0xF130 0xF134 0xF029 0xF02B 0xF158 0xF15A 0xF150>;

		/* Dual cal slave 2 - TOF */
		rom_dualcal_slave2_start_addr = <0xF200>;
		rom_dualcal_slave2_size = <0x8FC>; /* 2300 */

		/* Dual cal slave 2 - wide - TOF tilt */
		/* x y z sx sy */
		/* range max_err avg_err dll_version*/
		rom_dualcal_slave2_tilt_list = <0xF26C 0xF270 0xF274 0xF5C0 0xF5C4
										0xF6E0 0xF6E4 0xF6E8 0xF200>;
		/* Dual cal slave 3 - ultra wide - TOF tilt */
		/* x y z sx sy */
		/* range max_err avg_err dll_version*/
		rom_dualcal_slave3_tilt_list = <0xF360 0xF364 0xF368 0xF7C8 0xF7CC
										0xF8E8 0xF8EC 0xF8F0 0xF200>;
	};
};

/* USI07_USI_I2C */
&hsi2c_19 {
	#address-cells = <1>;
	#size-cells = <0>;
	gpios = <&gpp4 6 0 &gpp4 7 0>;
	status = "okay";
	clock-frequency = <1000000>;
	samsung,reset-before-trans;
	samsung,fast-plus-mode;

	pinctrl-names = "default","on_i2c","off_i2c";
	pinctrl-0 = <&hsi2c19_bus_in>;
	pinctrl-1 = <&hsi2c19_bus>;
	pinctrl-2 = <&hsi2c19_bus_in>;

	fimc-is-3m5@2D {
		compatible = "samsung,exynos5-fimc-is-cis-3m5";
		reg = <0x2D>; /* 1 bit right shift */
		id = <2>; /* matching fimc_is_sensor id */
		setfile = "setA";
		rev_reg = <0x0002 2 0xA000>;
	};
};

/* USI08_USI_I2C */
&hsi2c_21 {
	#address-cells = <1>;
	#size-cells = <0>;
	gpios = <&gpp5 2 0 &gpp5 3 0>;
	status = "okay";
	clock-frequency = <400000>;
	samsung,reset-before-trans;

	pinctrl-names = "default","on_i2c","off_i2c";
	pinctrl-0 = <&hsi2c21_bus_in>;
	pinctrl-1 = <&hsi2c21_bus>;
	pinctrl-2 = <&hsi2c21_bus_in>;

	fimc-is-actuator@0C {
		compatible = "samsung,exynos5-fimc-is-actuator-ak737x";
		reg = <0x0C>;
		id = <1>; /* matching fimc_is_sensor id */
		/* AK737x: addr 0xF3, data 0x0E */
		vendor_product_id = <0xF3 0x0E>;
		vendor_first_pos = <120>;
		vendor_first_delay = <2000>;
	};

	front_eeprom@51 {
		compatible = "samsung,front-eeprom-i2c";
		reg = <0x51>;

		rom_power_position = <1>;
		rom_size = <0x4000>;
		cal_map_es_version = <6>;
		camera_module_es_version = "A";
		/*skip_cal_loading;*/

		/* Davinci_Front_Cal_Map_V006_20190220_for_LSI */
		/* 0 header */
		header_crc_check_list = <0x0000 0x015F 0x01FC>;
		/* 0 master */
		crc_check_list = <0x0200 0x34DF 0x34FC>;

		/* Master */
		rom_header_version_start_addr = <0x30>;
		rom_header_cal_data_start_addr = <0x200>;

		rom_header_cal_map_ver_start_addr = <0x50>;
		/* rom_header_isp_setfile_ver_start_addr = <>; */
		rom_header_project_name_start_addr = <0x5C>;

		rom_header_module_id_addr = <0xAE>; /* 0xA8 + reserved bytes */
		rom_header_sensor_id_addr = <0x70>;

		rom_header_mtf_data_addr = <0xE0>;

		rom_awb_master_addr = <0x1A40>;
		rom_awb_module_addr = <0x1A4C>;

		rom_af_cal_macro_addr = <0x1A20>;
		rom_af_cal_pan_addr = <0x1A14>;

		/* rom_sensor2_awb_master_addr = <0x0>;*/ /* use default awb cal */
		/* rom_sensor2_awb_module_addr = <0x0>;*/ /* use default awb cal */
	};

	rear-tof-eeprom@50 {
		compatible = "samsung,rear3-eeprom-i2c";
		reg = <0x53>;

		rom_power_position = <8>;
		rom_size = <0x1900>;
		cal_map_es_version = <1>; /* TO DO 1 -> 2 */
		camera_module_es_version = "A";
		/* skip_header_loading; */
		/* skip_crc_check; */
		/*skip_cal_loading;*/

		/* davinci_REAR_TOF_Cal_Map_V003_190418 */
		/* 0 header */
		header_crc_check_list = <0x0000 0x00C9 0x00FC>;
		/* 1 cal all */
		crc_check_list = <0x0100 0x128F 0x18FC>;

		rom_header_cal_map_ver_start_addr = <0x50>;
		rom_header_version_start_addr = <0x40>;

		rom_header_module_id_addr = <0xAE>;
		rom_header_sensor_id_addr = <0xB8>;

		rom_tof_cal_size_addr = <0x0142 0x0402>; /*VGA CAL, QVGA CAL */
		rom_tof_cal_start_addr = <0x0100>;
		rom_tof_cal_uid_addr = <0x11A4 0x11B4>;  /*VGA UID, QVGA UID */
		rom_tof_cal_result_addr = <0x00CA>;
		rom_tof_cal_validation_addr = <0x1200 0x121e>; /*QVGA 500 start, 300 start*/
	};

	fimc-is-imx516@10 { /* rear tof */
		compatible = "samsung,exynos5-fimc-is-cis-imx516";
		reg = <0x10>; /* 1 bit right shift */
		id = <3>; /* matching fimc_is_sensor id */
		setfile = "setA";
		status = "okay";
	};

	fimc-is-imx316@10 { /* rear tof */
		compatible = "samsung,exynos5-fimc-is-cis-imx316";
		reg = <0x20>; /* fake address, real address is 0x10 */
		id = <3>; /* matching fimc_is_sensor id */
		setfile = "setA";
		status = "okay";
	};
};

&fimc_is_sensor0 {
	scenario = <SENSOR_SCENARIO_NORMAL>;	/* Normal, Vision, OIS etc */
	id = <0>;
	csi_ch = <0>;
	dma_ch = <0 0 0 0 0 4 4 4>;
	vc_ch = <0 1 2 3 0 1 2 3>;
	flite_ch = <FLITE_ID_NOTHING>;
	is_bns = <0>;
	use_ssvc2_internal;
	use_ssvc3_internal;
	status = "okay";
};

&fimc_is_sensor1 {
	scenario = <SENSOR_SCENARIO_NORMAL>;	/* Normal, Vision, OIS etc */
	id = <1>;
	csi_ch = <2>;
	dma_ch = <2 2 2 2 2 6 6 6>;
	vc_ch = <0 1 2 3 0 1 2 3>;
	flite_ch = <FLITE_ID_NOTHING>;
	is_bns = <0>;
	use_ssvc2_internal;
	use_ssvc3_internal;
	status = "okay";
};

&fimc_is_sensor2 {
	scenario = <SENSOR_SCENARIO_NORMAL>;	/* Normal, Vision, OIS etc */
	id = <2>;
	csi_ch = <2>;
	dma_ch = <2 2 2 2>;
	vc_ch = <0 1 2 3>;
	flite_ch = <FLITE_ID_NOTHING>;
	use_ssvc1_internal;
	is_bns = <0>;
	status = "okay";
};

&fimc_is_sensor3 {
	scenario = <SENSOR_SCENARIO_VISION>;	/* Normal, Vision, OIS etc */
	id = <3>;
	csi_ch = <4>;
	dma_ch = <3 3 3 3>;
	vc_ch = <0 1 2 3>;
	flite_ch = <FLITE_ID_NOTHING>;
/* 	use_ssvc3_internal; */
	is_bns = <0>;
	status = "okay";
};

&fimc_is_sensor4 {
	scenario = <SENSOR_SCENARIO_NORMAL>;	/* Normal, Vision, OIS etc */
	id = <4>;
	csi_ch = <1>;
	dma_ch = <1 1 1 1>;
	vc_ch = <0 1 2 3>;
	flite_ch = <FLITE_ID_NOTHING>;
	is_bns = <0>;
	status = "okay";
};

&fimc_is_sensor5 {
	scenario = <SENSOR_SCENARIO_VISION>;	/* Normal, Vision, OIS etc */
	id = <5>;
	csi_ch = <3>;
	dma_ch = <7 7 7 7>;
	vc_ch = <0 1 2 3>;
	flite_ch = <FLITE_ID_NOTHING>;
/* 	use_ssvc3_internal; */
	is_bns = <0>;
	status = "okay";
};
